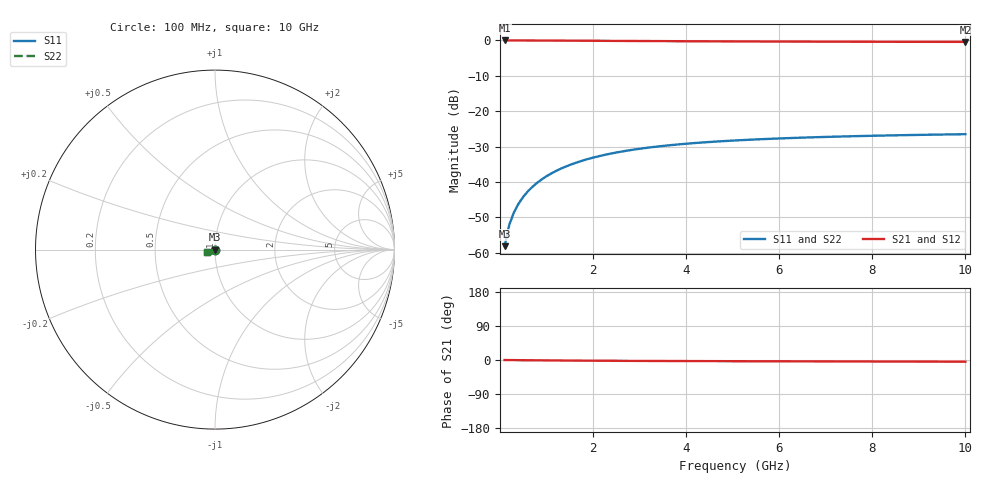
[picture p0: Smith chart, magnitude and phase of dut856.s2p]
! Touchstone file exported from HFSS 2024.1.0
!  File:  C:/UserFiles/LocalFiles/RDL_TSV_Batchsim/temp_TSV1_856_1779881449.aedt
!  Generated:  07:37:55 PM May 27, 2026
!  Design:  TSV1
!  Project:  temp_TSV1_856_1779881449
!  Setup:  Setup1
!  Solution:  Sweep
! Variables:
!  dtsv = 11.52um
!  hbump = 3um
!  htsv = 68um
!  lrdl = 252.1521522um
!  p = 40
!  p1 = 42.85um
!  t = 500um
!  trdl = 3um
!  wrdl = 24.89489489um
# GHz S MA R 50.000000
! Terminal data exported
! Port[1] = TSV22_T1
! Port[2] = TSV22_T2
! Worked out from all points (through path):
!   100 points, 100 MHz to 10 GHz, reference 50 ohm
!   highest |S21| = 0.00 dB at 100 MHz (marker M1); lowest = -0.4 dB at 10 GHz (marker M2)
!   lowest |S11| = -58.1 dB at 100 MHz (marker M3), VSWR 1.00, Z = 50 - j0.124 ohm
!   |S11| at or under -10 dB: start of sweep to end of sweep
!   |S22| runs from -58.1 to -26.5 dB; largest |S21 - S12| = 1.2e-14
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0.1  0.001241 -86.8  0.9999 -0.1  0.9999 -0.1  0.001241 -86.8
! Gamma 0 0 0 0
! Port Impedance 50 0 50 0
0.2  0.00248 -90.9  0.9998 -0.2  0.9998 -0.2  0.00248 -90.9
0.3  0.00372 -93.2  0.9996 -0.3  0.9996 -0.3  0.00372 -93.2
0.4  0.004953 -95.1  0.9993 -0.4  0.9993 -0.4  0.004953 -95.1
0.5  0.006177 -96.8  0.999 -0.5  0.999 -0.5  0.006177 -96.8
0.6  0.007388 -98.4  0.9987 -0.6  0.9987 -0.6  0.007388 -98.4
0.7  0.008584 -100.0  0.9982 -0.7  0.9982 -0.7  0.008584 -100.0
0.8  0.009764 -101.5  0.9978 -0.8  0.9978 -0.8  0.009764 -101.5
0.9  0.01092 -103.0  0.9972 -0.9  0.9972 -0.9  0.01092 -103.0
1.1  0.01318 -105.9  0.9961 -1.1  0.9961 -1.1  0.01318 -105.9
1.4  0.01639 -110.0  0.994 -1.4  0.994 -1.4  0.01639 -110.0
1.6  0.0184 -112.7  0.9925 -1.6  0.9925 -1.6  0.0184 -112.7
1.8  0.0203 -115.2  0.991 -1.7  0.991 -1.7  0.0203 -115.2
2.1  0.02295 -118.8  0.9886 -1.9  0.9886 -1.9  0.02295 -118.8
2.5  0.02611 -123.2  0.9855 -2.2  0.9855 -2.2  0.02611 -123.2
2.9  0.02886 -127.2  0.9824 -2.4  0.9824 -2.4  0.02886 -127.2
3.4  0.03181 -131.6  0.9788 -2.6  0.9788 -2.6  0.03181 -131.6
4.2  0.03558 -137.7  0.9736 -2.9  0.9736 -2.9  0.03558 -137.7
5.1  0.0388 -143.2  0.9688 -3.2  0.9688 -3.2  0.0388 -143.2
6.7  0.04278 -150.9  0.9624 -3.6  0.9624 -3.6  0.04278 -150.9
8.4  0.04557 -157.0  0.9577 -4.0  0.9577 -4.0  0.04557 -157.0
10  0.04738 -161.6  0.9545 -4.5  0.9545 -4.5  0.04738 -161.6
